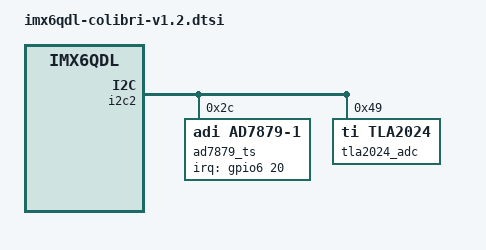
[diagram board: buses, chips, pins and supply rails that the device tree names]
// SPDX-License-Identifier: GPL-2.0-or-later OR MIT
/* Copyright (c) 2025 Toradex */

&i2c2 {
	/delete-node/ stmpe811@41;

	ad7879_ts: touchscreen@2c {
		compatible = "adi,ad7879-1";
		reg = <0x2c>;
		pinctrl-names = "default";
		pinctrl-0 = <&pinctrl_touch_int>;
		interrupts = <20 IRQ_TYPE_LEVEL_LOW>;
		interrupt-parent = <&gpio6>;
		touchscreen-max-pressure = <4096>;
		adi,resistance-plate-x = <120>;
		adi,first-conversion-delay = /bits/ 8 <3>;
		adi,acquisition-time = /bits/ 8 <1>;
		adi,median-filter-size = /bits/ 8 <2>;
		adi,averaging = /bits/ 8 <1>;
		adi,conversion-interval = /bits/ 8 <255>;
	};

	tla2024_adc: adc@49 {
		compatible = "ti,tla2024";
		reg = <0x49>;
		#address-cells = <1>;
		#size-cells = <0>;

		/* Colibri AIN0 */
		channel@4 {
			reg = <4>;
			ti,datarate = <4>;
			ti,gain = <1>;
		};

		/* Colibri AIN1 */
		channel@5 {
			reg = <5>;
			ti,datarate = <4>;
			ti,gain = <1>;
		};

		/* Colibri AIN2 */
		channel@6 {
			reg = <6>;
			ti,datarate = <4>;
			ti,gain = <1>;
		};

		/* Colibri AIN3 */
		channel@7 {
			reg = <7>;
			ti,datarate = <4>;
			ti,gain = <1>;
		};
	};
};
